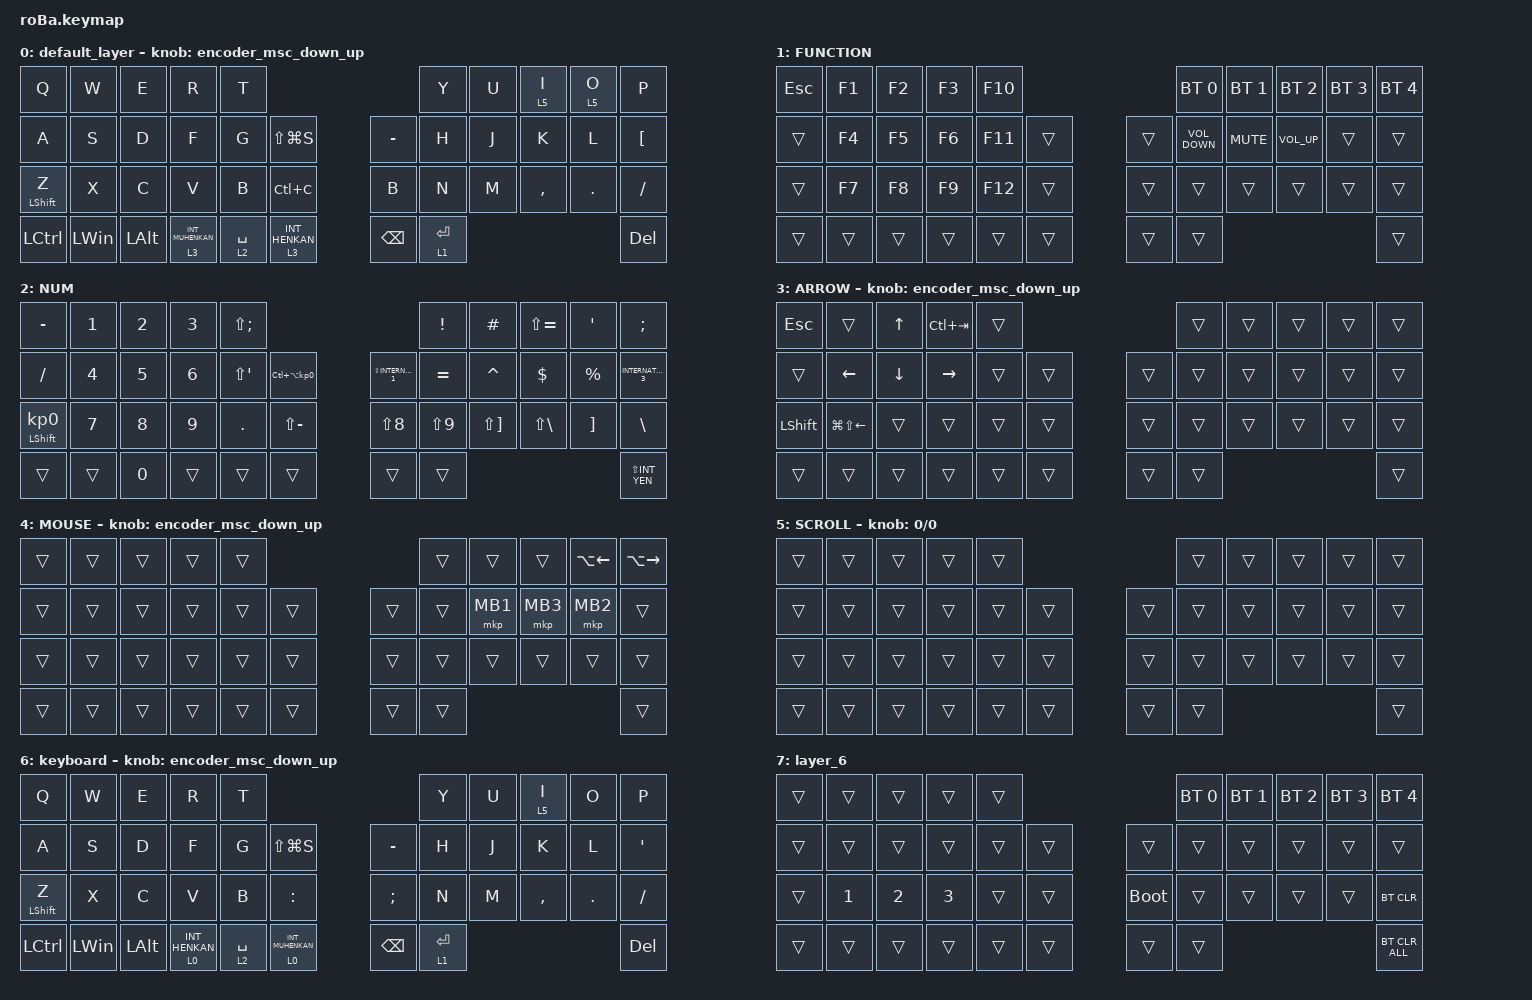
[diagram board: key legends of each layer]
#include <behaviors.dtsi>
#include <dt-bindings/zmk/bt.h>
#include <dt-bindings/zmk/keys.h>
#include <dt-bindings/zmk/pointing.h>
#include <input/processors.dtsi>


#define MOUSE 4
#define SCROLL 5
#define NUM 6
#define ZMK_POINTING_DEFAULT_SCRL_VAL 80

&mkp_input_listener {
    input-processors = <&zip_temp_layer 5 10000>;
};

&mt {
    flavor = "balanced";
    quick-tap-ms = <0>;
};

/ {
    combos {
        compatible = "zmk,combos";

        tab {
            bindings = <&kp TAB>;
            key-positions = <11 12>;
        };

        shift_tab {
            bindings = <&kp LS(TAB)>;
            key-positions = <12 13>;
        };

        muhennkann {
            bindings = <&to_layer_0 INT_MUHENKAN>;
            key-positions = <11 10>;
        };

        double_quotation {
            bindings = <&kp AT>;
            key-positions = <20 21>;
        };

        eq {
            bindings = <&kp EQUAL>;
            key-positions = <24 25>;
        };

        quotation {
            bindings = <&kp AMPERSAND>;
            key-positions = <19 20>;
        };


    };



    macros {
        exit_AML: exit_AML {
            compatible = "zmk,behavior-macro";
            wait-ms = <0>;
            tap-ms = <0>;
            #binding-cells = <0>;
            bindings = <&tog_off MOUSE>;
            label = "exit_AML";
        };

        kp_exit_AML: kp_exit_AML {
            compatible = "zmk,behavior-macro-one-param";
            wait-ms = <0>;
            tap-ms = <0>;
            #binding-cells = <1>;
            bindings = <&macro_param_1to1 &kp MACRO_PLACEHOLDER &exit_AML>;
            label = "KP_exit_AML";
        };
        to_layer_0: to_layer_0 {
            compatible = "zmk,behavior-macro-one-param";
            #binding-cells = <1>;
            bindings = <&to 0 &macro_param_1to1 &kp MACRO_PLACEHOLDER>;
            label = "TO_LAYER_0";
        };
    };

    behaviors {
        tog_off: toggle_layer_off {
            compatible = "zmk,behavior-toggle-layer";
            #binding-cells = <1>;
            display-name = "Toggle Layer Off";
            toggle-mode = "off";
        };

        mt_exit_AML_on_tap: mt_exit_AML_on_tap {
            compatible = "zmk,behavior-hold-tap";
            label = "MT_exit_AML_ON_TAP";
            bindings = <&kp>, <&kp_exit_AML>;

            #binding-cells = <2>;
            tapping-term-ms = <200>;
            flavor = "balanced";
            quick-tap-ms = <200>;
        };
    };


    behaviors {
        lt_to_layer_0: lt_to_layer_0 {
            compatible = "zmk,behavior-hold-tap";
            label = "LAYER_TAP_TO_0";
            bindings = <&mo>, <&to_layer_0>;

            #binding-cells = <2>;
            tapping-term-ms = <200>;
        };
    };

    behaviors {
        encoder_msc_down_up: encoder_msc_down_up {
            compatible = "zmk,behavior-sensor-rotate";
            label = "ENCODER_MSC_DOWN_UP";
            #sensor-binding-cells = <0>;
            bindings = <&msc SCRL_DOWN>, <&msc SCRL_UP>;

            tap-ms = <20>;
        };
    };

    keymap {
        compatible = "zmk,keymap";

        default_layer {
            bindings = <
&kp Q             &kp W         &kp E         &kp R                          &kp T                                                        &kp Y        &kp U  &lt 5 I    &lt 5 O  &kp P
&kp A             &kp S         &kp D         &kp F                          &kp G        &kp LS(LG(S))                    &kp MINUS      &kp H        &kp J  &kp K      &kp L    &kp LEFT_BRACKET
&mt LEFT_SHIFT Z  &kp X         &kp C         &kp V                          &kp B        &kp LC(C)                        &kp B          &kp N        &kp M  &kp COMMA  &kp DOT  &kp SLASH
&kp LCTRL         &kp LEFT_WIN  &kp LEFT_ALT  &lt_to_layer_0 3 INT_MUHENKAN  &lt 2 SPACE  &lt_to_layer_0 3 INT_HENKAN      &kp BACKSPACE  &lt 1 ENTER                             &kp DEL
            >;

            sensor-bindings = <&encoder_msc_down_up>;
        };

        FUNCTION {
            bindings = <
&kp ESCAPE  &kp F1  &kp F2  &kp F3  &kp F10                      &bt BT_SEL 0       &bt BT_SEL 1  &bt BT_SEL 2  &bt BT_SEL 3  &bt BT_SEL 4
&trans      &kp F4  &kp F5  &kp F6  &kp F11  &trans      &trans  &kp C_VOLUME_DOWN  &kp C_MUTE    &kp C_VOL_UP  &trans        &trans
&trans      &kp F7  &kp F8  &kp F9  &kp F12  &trans      &trans  &trans             &trans        &trans        &trans        &trans
&trans      &trans  &trans  &trans  &trans   &trans      &trans  &trans                                                       &trans
            >;
        };

        NUM {
            bindings = <
&kp MINUS                   &kp NUMBER_1  &kp NUMBER_2  &kp NUMBER_3  &kp LS(SEMICOLON)                                                        &kp EXCLAMATION  &kp HASH               &kp LS(EQUAL)      &kp SQT            &kp SEMICOLON
&kp SLASH                   &kp NUMBER_4  &kp N5        &kp NUMBER_6  &kp LS(SQT)        &kp LC(LA(KP_NUMBER_0))      &kp LS(INTERNATIONAL_1)  &kp EQUAL        &kp CARET              &kp DOLLAR         &kp PERCENT        &kp INTERNATIONAL_3
&mt LEFT_SHIFT KP_NUMBER_0  &kp N7        &kp N8        &kp N9        &kp PERIOD         &kp LS(MINUS)                &kp LS(N8)               &kp LS(N9)       &kp LS(RIGHT_BRACKET)  &kp LS(BACKSLASH)  &kp RIGHT_BRACKET  &kp BACKSLASH
&trans                      &trans        &kp N0        &trans        &trans             &trans                       &trans                   &trans                                                                        &kp LS(INT_YEN)
            >;
        };

        ARROW {
            bindings = <
&kp ESCAPE      &trans                  &kp UP_ARROW    &kp LC(TAB)      &trans                      &trans  &trans  &trans  &trans  &trans
&trans          &kp LEFT_ARROW          &kp DOWN_ARROW  &kp RIGHT_ARROW  &trans  &trans      &trans  &trans  &trans  &trans  &trans  &trans
&kp LEFT_SHIFT  &kp LG(LS(LEFT_ARROW))  &trans          &trans           &trans  &trans      &trans  &trans  &trans  &trans  &trans  &trans
&trans          &trans                  &trans          &trans           &trans  &trans      &trans  &trans                          &trans
            >;

            sensor-bindings = <&encoder_msc_down_up>;
        };

        MOUSE {
            bindings = <
&trans  &trans  &trans  &trans  &trans                      &trans  &trans    &trans    &kp LA(LEFT_ARROW)  &kp LA(RIGHT_ARROW)
&trans  &trans  &trans  &trans  &trans  &trans      &trans  &trans  &mkp MB1  &mkp MB3  &mkp MB2            &trans
&trans  &trans  &trans  &trans  &trans  &trans      &trans  &trans  &trans    &trans    &trans              &trans
&trans  &trans  &trans  &trans  &trans  &trans      &trans  &trans                                          &trans
            >;

            sensor-bindings = <&encoder_msc_down_up>;
        };

        SCROLL {
            bindings = <
&trans  &trans  &trans  &trans  &trans                      &trans  &trans  &trans  &trans  &trans
&trans  &trans  &trans  &trans  &trans  &trans      &trans  &trans  &trans  &trans  &trans  &trans
&trans  &trans  &trans  &trans  &trans  &trans      &trans  &trans  &trans  &trans  &trans  &trans
&trans  &trans  &trans  &trans  &trans  &trans      &trans  &trans                          &trans
            >;

            sensor-bindings = <&inc_dec_kp 0 0>;
        };

        keyboard {
            bindings = <
&kp Q             &kp W         &kp E         &kp R                        &kp T                                                          &kp Y        &kp U  &lt 5 I    &kp O    &kp P
&kp A             &kp S         &kp D         &kp F                        &kp G        &kp LS(LG(S))                      &kp MINUS      &kp H        &kp J  &kp K      &kp L    &kp SQT
&mt LEFT_SHIFT Z  &kp X         &kp C         &kp V                        &kp B        &kp COLON                          &kp SEMICOLON  &kp N        &kp M  &kp COMMA  &kp DOT  &kp SLASH
&kp LCTRL         &kp LEFT_WIN  &kp LEFT_ALT  &lt_to_layer_0 0 INT_HENKAN  &lt 2 SPACE  &lt_to_layer_0 0 INT_MUHENKAN      &kp BACKSPACE  &lt 1 ENTER                             &kp DEL
            >;

            sensor-bindings = <&encoder_msc_down_up>;
        };

        layer_6 {
            bindings = <
&trans  &trans        &trans        &trans        &trans                           &bt BT_SEL 0  &bt BT_SEL 1  &bt BT_SEL 2  &bt BT_SEL 3  &bt BT_SEL 4
&trans  &trans        &trans        &trans        &trans  &trans      &trans       &trans        &trans        &trans        &trans        &trans
&trans  &kp NUMBER_1  &kp NUMBER_2  &kp NUMBER_3  &trans  &trans      &bootloader  &trans        &trans        &trans        &trans        &bt BT_CLR
&trans  &trans        &trans        &trans        &trans  &trans      &trans       &trans                                                  &bt BT_CLR_ALL
            >;
        };
    };
};
